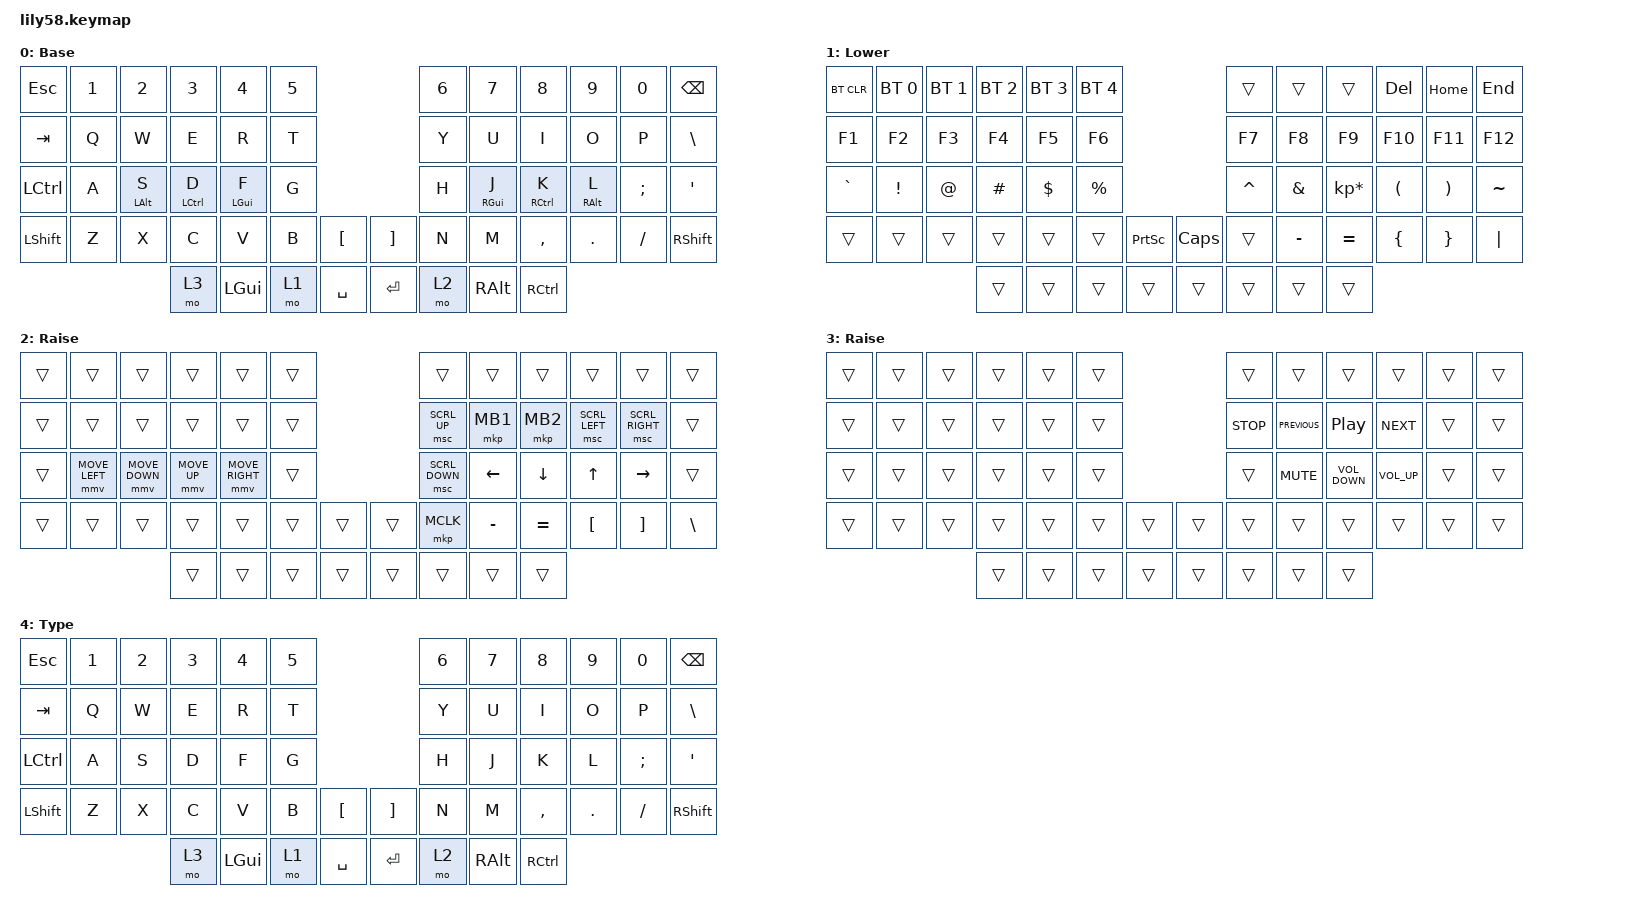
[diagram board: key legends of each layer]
/*
 * Copyright (c) 2020 The ZMK Contributors
 *
 * SPDX-License-Identifier: MIT
 */

#include <behaviors.dtsi>
#include <dt-bindings/zmk/bt.h>
#include <dt-bindings/zmk/keys.h>
#include <dt-bindings/zmk/pointing.h>

/ {
    combos {
        compatible = "zmk,combos";

        ctl+alt+del {
            bindings = <&kp LA(LC(DEL))>;
            key-positions = <28 26 31 33>;
        };

        ctl+alt+end {
            bindings = <&kp LC(LA(END))>;
            key-positions = <28 25 31 34>;
        };

        close_app {
            bindings = <&kp LA(F4)>;
            key-positions = <42 43>;
        };

        toggle_type_layer {
            bindings = <&tog 4>;
            key-positions = <53 54>;
        };
    };

    keymap {
        compatible = "zmk,keymap";

        default_layer {
            // ------------------------------------------------------------------------------------------------------------
            // |  ESC  |  1  |  2  |  3   |  4   |  5   |                   |  6   |  7    |  8    |  9   |   0   |   `   |
            // |  TAB  |  Q  |  W  |  E   |  R   |  T   |                   |  Y   |  U    |  I    |  O   |   P   |   -   |
            // |  CTRL |  A  |  S  |  D   |  F   |  G   |                   |  H   |  J    |  K    |  L   |   ;   |   '   |
            // | SHIFT |  Z  |  X  |  C   |  V   |  B   |   "["  |  |  "]"  |  N   |  M    |  ,    |  .   |   /   | SHIFT |
            //                     | ALT  | GUI  | LOWER|  SPACE |  | ENTER | RAISE| BSPC  | GUI   |

            display-name = "Base";
            bindings = <
&kp ESC    &kp N1  &kp N2      &kp N3       &kp N4      &kp N5                         &kp N6  &kp N7      &kp N8       &kp N9      &kp N0    &kp BACKSPACE
&kp TAB    &kp Q   &kp W       &kp E        &kp R       &kp T                          &kp Y   &kp U       &kp I        &kp O       &kp P     &kp BACKSLASH
&kp LCTRL  &kp A   &mt LALT S  &mt LCTRL D  &mt LGUI F  &kp G                          &kp H   &mt RGUI J  &mt RCTRL K  &mt RALT L  &kp SEMI  &kp SQT
&kp LSHFT  &kp Z   &kp X       &kp C        &kp V       &kp B   &kp LBKT     &kp RBKT  &kp N   &kp M       &kp COMMA    &kp DOT     &kp FSLH  &kp RSHFT
                               &mo 3        &kp LGUI    &mo 1   &kp SPACE    &kp RET   &mo 2   &kp RALT    &kp RCTRL
            >;
        };

        lower_layer {
            // ------------------------------------------------------------------------------------------------------------
            // | BTCLR | BT1 | BT2 |  BT3 |  BT4 |  BT5 |                   |      |       |       |      |       |       |
            // |  F1   |  F2 |  F3 |  F4  |  F5  |  F6  |                   |  F7  |  F8   |  F9   |  F10 |  F11  |  F12  |
            // |   `   |  !  |  @  |  #   |  $   |  %   |                   |  ^   |  &    |  *    |  (   |   )   |   ~   |
            // |       |     |     |      |      |      |        |  |       |      |  _    |  +    |  {   |   }   |  "|"  |
            //                     |      |      |      |        |  |       |      |       |       |

            display-name = "Lower";
            bindings = <
&bt BT_CLR  &bt BT_SEL 0  &bt BT_SEL 1  &bt BT_SEL 2  &bt BT_SEL 3  &bt BT_SEL 4                                   &trans     &trans     &trans           &kp DEL   &kp HOME  &kp END
&kp F1      &kp F2        &kp F3        &kp F4        &kp F5        &kp F6                                         &kp F7     &kp F8     &kp F9           &kp F10   &kp F11   &kp F12
&kp GRAVE   &kp EXCL      &kp AT        &kp HASH      &kp DOLLAR    &kp PRCNT                                      &kp CARET  &kp AMPS   &kp KP_MULTIPLY  &kp LPAR  &kp RPAR  &kp TILDE
&trans      &trans        &trans        &trans        &trans        &trans        &kp PRINTSCREEN    &kp CAPSLOCK  &trans     &kp MINUS  &kp EQUAL        &kp LBRC  &kp RBRC  &kp PIPE
                                        &trans        &trans        &trans        &trans             &trans        &trans     &trans     &trans
            >;
        };

        raise_layer {
            // ------------------------------------------------------------------------------------------------------------
            // |       |     |     |      |      |      |                   |      |       |       |      |       |       |
            // |   `   |  1  |  2  |  3   |  4   |  5   |                   |  6   |   7   |   8   |  9   |   0   |       |
            // |   F1  |  F2 |  F3 |  F4  |  F5  |  F6  |                   |      |   <-  |   v   |  ^   |  ->   |       |
            // |   F7  |  F8 |  F9 |  F10 |  F11 |  F12 |        |  |       |  +   |   -   |   =   |  [   |   ]   |   \   |
            //                     |      |      |      |        |  |       |      |       |       |

            display-name = "Raise";
            bindings = <
&trans  &trans          &trans          &trans        &trans           &trans                    &trans          &trans     &trans     &trans          &trans           &trans
&trans  &trans          &trans          &trans        &trans           &trans                    &msc SCRL_UP    &mkp MB1   &mkp MB2   &msc SCRL_LEFT  &msc SCRL_RIGHT  &trans
&trans  &mmv MOVE_LEFT  &mmv MOVE_DOWN  &mmv MOVE_UP  &mmv MOVE_RIGHT  &trans                    &msc SCRL_DOWN  &kp LEFT   &kp DOWN   &kp UP          &kp RIGHT        &trans
&trans  &trans          &trans          &trans        &trans           &trans  &trans    &trans  &mkp MCLK       &kp MINUS  &kp EQUAL  &kp LBKT        &kp RBKT         &kp BSLH
                                        &trans        &trans           &trans  &trans    &trans  &trans          &trans     &trans
            >;
        };

        mod_layer {
            display-name = "Raise";
            bindings = <
&trans  &trans  &trans  &trans  &trans  &trans                    &trans      &trans          &trans             &trans           &trans  &trans
&trans  &trans  &trans  &trans  &trans  &trans                    &kp C_STOP  &kp C_PREVIOUS  &kp C_PLAY_PAUSE   &kp C_NEXT       &trans  &trans
&trans  &trans  &trans  &trans  &trans  &trans                    &trans      &kp C_MUTE      &kp C_VOLUME_DOWN  &kp C_VOLUME_UP  &trans  &trans
&trans  &trans  &trans  &trans  &trans  &trans  &trans    &trans  &trans      &trans          &trans             &trans           &trans  &trans
                        &trans  &trans  &trans  &trans    &trans  &trans      &trans          &trans
            >;
        };

        Type_Layer {
            display-name = "Type";
            bindings = <
&kp ESC    &kp N1  &kp N2  &kp N3  &kp N4    &kp N5                         &kp N6  &kp N7    &kp N8     &kp N9   &kp N0    &kp BACKSPACE
&kp TAB    &kp Q   &kp W   &kp E   &kp R     &kp T                          &kp Y   &kp U     &kp I      &kp O    &kp P     &kp BACKSLASH
&kp LCTRL  &kp A   &kp S   &kp D   &kp F     &kp G                          &kp H   &kp J     &kp K      &kp L    &kp SEMI  &kp SQT
&kp LSHFT  &kp Z   &kp X   &kp C   &kp V     &kp B   &kp LBKT     &kp RBKT  &kp N   &kp M     &kp COMMA  &kp DOT  &kp FSLH  &kp RSHFT
                           &mo 3   &kp LGUI  &mo 1   &kp SPACE    &kp RET   &mo 2   &kp RALT  &kp RCTRL
            >;
        };
    };
};
